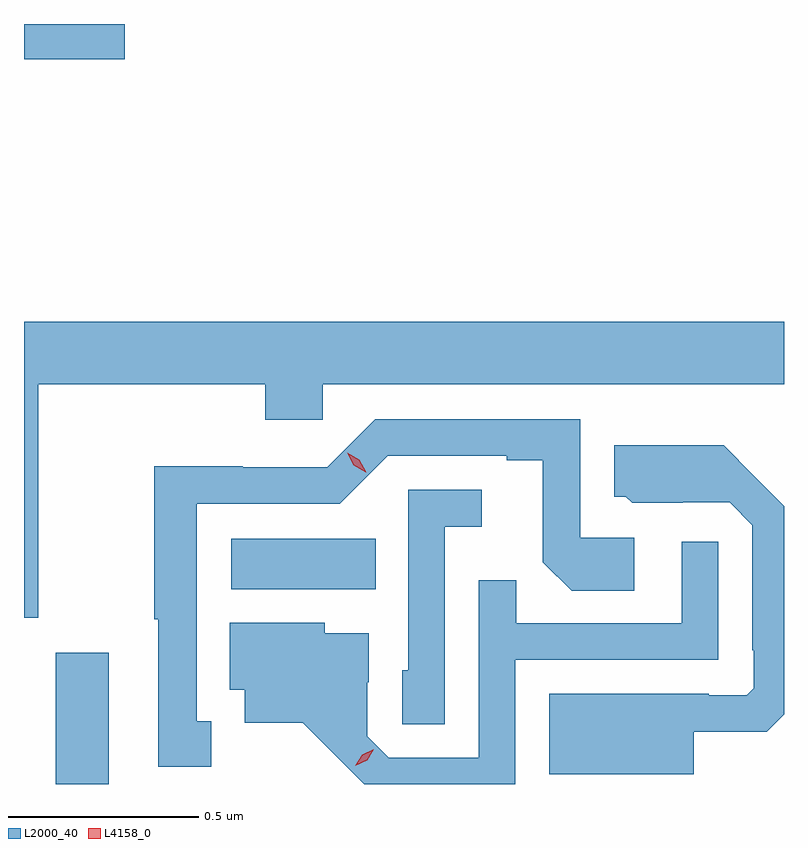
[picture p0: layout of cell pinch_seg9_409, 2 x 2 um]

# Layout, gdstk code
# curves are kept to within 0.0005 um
import gdstk
lib = gdstk.Library(unit=1e-6, precision=1e-09)
def R(c, l, rs):  # rectangles x0, y0, x1, y1
    for r in rs: c.add(gdstk.rectangle(r[:2], r[2:], *l))
def P(c, l, *ps):  # polygons
    for p in ps: c.add(gdstk.Polygon(p, *l))
L2000_40 = (2000, 40)
L4158_0 = (4158, 0)

pinch_seg9_409 = lib.new_cell('pinch_seg9_409')
R(pinch_seg9_409, L2000_40, [(337.157,1244.652,337.297,1244.998), (337.62,1245.164,338,1245.298), (337.074,1246.559,337.339,1246.652)])
P(pinch_seg9_409, L2000_40, [(337.111,1245.704),(337.709,1245.704),(337.709,1245.611),(337.86,1245.611),(337.86,1245.704),(339.074,1245.704),(339.074,1245.868),(337.074,1245.868),(337.074,1245.09),(337.111,1245.09)],
  [(337.567,1244.817),(337.528,1244.817),(337.528,1245.39),(337.905,1245.39),(338.031,1245.516),(338.345,1245.516),(338.345,1245.504),(338.439,1245.504),(338.439,1245.236),(338.515,1245.16),(338.68,1245.16),(338.68,1245.3),(338.538,1245.3),(338.538,1245.612),(337.998,1245.612),(337.872,1245.486),(337.65,1245.486),(337.65,1245.488),(337.417,1245.488),(337.417,1245.085),(337.427,1245.085),(337.427,1244.697),(337.567,1244.697)],
  [(338.836,1244.789),(339.028,1244.789),(339.074,1244.835),(339.074,1245.383),(338.915,1245.544),(338.627,1245.544),(338.627,1245.408),(338.658,1245.408),(338.674,1245.392),(338.808,1245.392),(338.808,1245.393),(338.931,1245.393),(338.991,1245.333),(338.991,1245.004),(338.994,1245.004),(338.994,1244.904),(338.976,1244.886),(338.876,1244.886),(338.876,1244.89),(338.456,1244.89),(338.456,1244.678),(338.836,1244.678)],
  [(338.181,1245.329),(338.278,1245.329),(338.278,1245.426),(338.085,1245.426),(338.085,1244.952),(338.07,1244.952),(338.07,1244.809),(338.181,1244.809)],
  [(338.367,1244.979),(338.901,1244.979),(338.901,1245.289),(338.805,1245.289),(338.805,1245.075),(338.369,1245.075),(338.369,1245.188),(338.271,1245.188),(338.271,1244.721),(338.034,1244.721),(337.977,1244.778),(337.977,1244.92),(337.981,1244.92),(337.981,1245.049),(337.866,1245.049),(337.866,1245.076),(337.616,1245.076),(337.616,1244.9),(337.655,1244.9),(337.655,1244.813),(337.807,1244.813),(337.97,1244.652),(338.367,1244.652)])
P(pinch_seg9_409, L4158_0, [(337.946,1244.7),(337.946,1244.7),(337.964,1244.729),(337.994,1244.743),(337.995,1244.743),(337.995,1244.743),(337.977,1244.714),(337.946,1244.7)],
  [(337.973,1245.472),(337.942,1245.491),(337.925,1245.524),(337.925,1245.524),(337.925,1245.524),(337.956,1245.505),(337.974,1245.473),(337.974,1245.472)])

lib.write_gds('pinch_seg9_409.gds')
